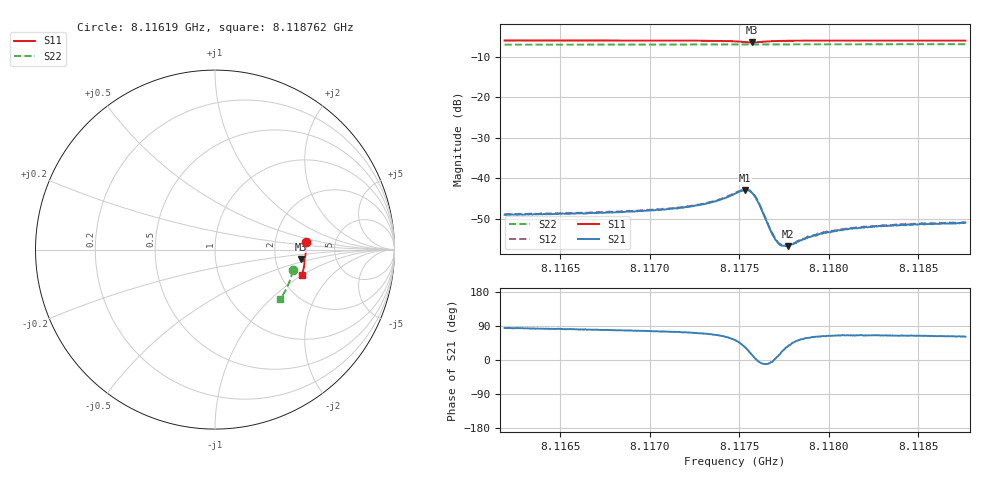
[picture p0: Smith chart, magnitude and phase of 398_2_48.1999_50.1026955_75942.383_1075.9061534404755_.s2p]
#  HZ  S  RI  R  50.00
! Rohde & Schwarz Vector Network Analyzer
! Rohde-Schwarz,ZNB20-2Port,1311601062101988,3.16
! Created: UTC 3/20/2024, 11:53:54 AM
! freq[Hz]  re:S11  im:S11  re:S21  im:S21  re:S12  im:S12  re:S22  im:S22
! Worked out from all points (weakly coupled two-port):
!   401 points, 8.11619 GHz to 8.118762 GHz, reference 50 ohm
!   highest |S21| = -42.94 dB at 8.117534 GHz (marker M1); lowest = -56.8 dB at 8.117772 GHz (marker M2)
!   lowest |S11| = -6.4 dB at 8.117572 GHz (marker M3), VSWR 2.84, Z = 139 - j19 ohm
!   |S11| at or under -10 dB: nowhere
!   |S22| runs from -6.9 to -6.8 dB; largest |S21 - S12| = 0.0002
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8.1161901e9  0.505 0.0441  0.000339 0.00351  0.000383 0.00354  0.4346 -0.1141
8.1166209e9  0.5063 0.0116  0.000589 0.00365  0.000675 0.00367  0.427 -0.143
8.1170517e9  0.5051 -0.022  0.001 0.00389  0.00107 0.00398  0.4176 -0.1717
8.117161e9  0.5042 -0.0309  0.00119 0.00411  0.00128 0.00416  0.415 -0.1787
8.1172896e9  0.5021 -0.0422  0.00159 0.00445  0.00167 0.0045  0.4117 -0.1872
8.117386e9  0.4989 -0.0516  0.00227 0.00484  0.00232 0.00494  0.4089 -0.1935
8.117476e9  0.491 -0.0606  0.0039 0.00513  0.00403 0.00516  0.4059 -0.1992
8.1175339e9  0.4802 -0.0606  0.00599 0.00386  0.0061 0.00388  0.4039 -0.2025
8.1175532e9  0.4772 -0.0573  0.00648 0.00275  0.00659 0.00277  0.4033 -0.2035
8.1175725e9  0.4764 -0.0525  0.00639 0.00143  0.00652 0.00143  0.4027 -0.2046
8.1175853e9  0.4776 -0.0494  0.00598 0.00059  0.00611 0.00055  0.4025 -0.2051
8.1176046e9  0.4811 -0.0463  0.00508 -0.000275  0.00519 -0.000318  0.4021 -0.2062
8.1176754e9  0.4935 -0.0494  0.00222 -0.00023  0.0023 -0.000273  0.4006 -0.2107
8.1177011e9  0.4958 -0.0527  0.00173 9.59e-05  0.00177 5.57e-05  0.4 -0.2125
8.1177139e9  0.4965 -0.0542  0.00158 0.000244  0.00162 0.000236  0.3996 -0.2133
8.1177332e9  0.4974 -0.0566  0.00139 0.000502  0.00142 0.000514  0.3991 -0.2146
8.1177718e9  0.4984 -0.0611  0.00116 0.000862  0.00118 0.000886  0.3978 -0.217
8.1179068e9  0.4985 -0.0744  0.000936 0.00167  0.00098 0.00166  0.3938 -0.2258
8.117984e9  0.4979 -0.0811  0.000966 0.00187  0.001 0.00194  0.391 -0.2306
8.1181062e9  0.4965 -0.091  0.000975 0.00213  0.00104 0.00213  0.387 -0.238
8.1183376e9  0.4928 -0.1088  0.00111 0.00234  0.00113 0.00235  0.3787 -0.2521
8.118762e9  0.4847 -0.14  0.00133 0.00248  0.00135 0.00249  0.3626 -0.277
